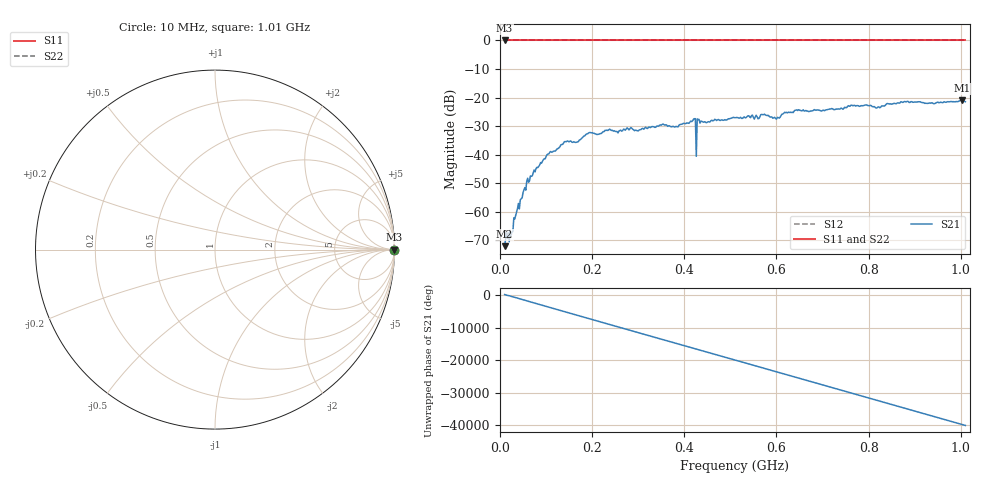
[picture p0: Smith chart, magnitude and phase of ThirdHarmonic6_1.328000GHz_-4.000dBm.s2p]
! 8/16/2025 2:48:59 PM
! C:\ANRITSUVNA\TEMP\TEMP.S2P
! CHANNEL.1
! TR.MEASUREMENT
! RAW.DATA
! RF.CORRECTION.OFF
! AVERAGING.OFF
! IF.BANDWIDTH: 5KHZ
! SWEEPTYPE:  FREQ.SWEEP(Linear)
! Reference Plane Port Info
! PORT:  PORT1  PORT2
! DISTANCE:  0  m  0  m
! TIME:  0  s  0  s
! PHASE.OFFSET:  0  deg.  0  deg.
! LOSS:  0  dB  0  dB
! REF.LOSS:  0  dB  0  dB
! REF.FREQ:  0  Hz  0  Hz
! Power Info
! POWER:  -20  dBm  -20  dBm
! EFF.POWER:  -20  dBm  -20  dBm
! SOURCE.ATTEN:  0  dB  0  dB
! TEST.ATTEN:  0  dB  0  dB
# GHZ S RI R 50.0
! FREQ.GHZ  S11RE  S11IM  S21RE  S21IM  S12RE  S12IM  S22RE  S22IM
!; PortSelection: Port_12
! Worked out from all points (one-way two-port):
!   501 points, 10 MHz to 1.01 GHz, reference 50 ohm
!   highest |S21| = -20.95 dB at 1.002 GHz (marker M1); lowest = -72.1 dB at 10 MHz (marker M2)
!   lowest |S11| = 0.0 dB at 10 MHz (marker M3)
!   |S11| at or under -10 dB: nowhere
!   |S22| runs from 0.0 to 0.0 dB; largest |S21 - S12| = 1.1
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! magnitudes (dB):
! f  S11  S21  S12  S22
! 10 MHz  0.0  -72.1  0.0  0.0
! 24 MHz  0.0  -68.5  0.0  0.0
! 34 MHz  0.0  -61.3  0.0  0.0
! 56 MHz  0.0  -52.5  0.0  0.0
! 76 MHz  0.0  -46.0  0.0  0.0
! 106 MHz  0.0  -39.7  0.0  0.0
! 138 MHz  0.0  -35.9  0.0  0.0
! 178 MHz  0.0  -34.2  0.0  0.0
! 196 MHz  0.0  -32.3  0.0  0.0
! 344 MHz  0.0  -30.0  0.0  0.0
! 382 MHz  0.0  -30.1  0.0  0.0
! 420 MHz  0.0  -27.6  0.0  0.0
! 422 MHz  0.0  -27.4  0.0  0.0
! 430 MHz  0.0  -27.7  0.0  0.0
! 432 MHz  0.0  -27.7  0.0  0.0
! 510 MHz  0.0  -27.1  0.0  0.0
! 602 MHz  0.0  -27.0  0.0  0.0
! 644 MHz  0.0  -24.3  0.0  0.0
! 678 MHz  0.0  -24.7  0.0  0.0
! 844 MHz  0.0  -22.2  0.0  0.0
! 1.002 GHz  0.0  -21.0  0.0  0.0
! 1.01 GHz  0.0  -21.5  0.0  0.0
